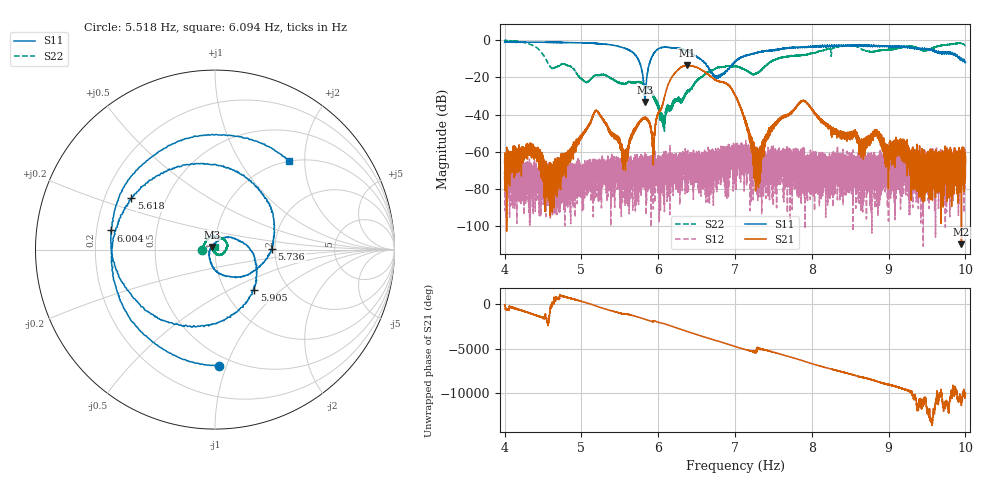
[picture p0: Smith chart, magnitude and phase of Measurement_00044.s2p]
!Created with skrf (http://scikit-rf.org).
# Hz S RI R 50.0
!freq ReS11 ImS11 ReS21 ImS21 ReS12 ImS12 ReS22 ImS22
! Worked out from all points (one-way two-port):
!   14001 points, 4 Hz to 10 Hz, reference 50 ohm
!   highest |S21| = -13.62 dB at 6.372 Hz (marker M1); lowest = -109.6 dB at 9.949 Hz (marker M2)
!   lowest |S11| = -33.1 dB at 5.829 Hz (marker M3), VSWR 1.05, Z = 48.4 + j1.41 ohm
!   |S11| at or under -10 dB: 5.736 Hz to 5.907 Hz (171.3 mHz wide, 2.94 % of centre); 6.542 Hz to 7.048 Hz (506.5 mHz wide, 7.45 % of centre); 9.9546 Hz to end of sweep (the widest 3 of 9)
!   |S22| runs from -49.0 to -0.2 dB; largest |S21 - S12| = 0.21
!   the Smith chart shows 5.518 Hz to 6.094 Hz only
!   S11 on the Smith chart (normalised r, x): 5.518 Hz: 0.42, -0.94; 5.618 Hz: 0.31, +0.26; 5.736 Hz: 1.93, +0.02; 5.905 Hz: 1.36, -0.68; 6.004 Hz: 0.26, +0.09; 6.094 Hz: 0.99, +1.67
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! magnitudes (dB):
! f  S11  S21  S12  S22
! 4 Hz  -1.1  -66.0  -72.4  -0.2
! 4.351 Hz  -1.1  -57.6  -71.6  -2.6
! 4.591 Hz  -1.2  -72.5  -79.6  -14.1
! 5 Hz  -1.5  -52.8  -74.7  -20.7
! 5.2 Hz  -1.8  -37.7  -74.5  -18.7
! 5.518 Hz  -3.8  -59.2  -74.9  -23.1
! 5.618 Hz  -5.2  -58.0  -82.3  -22.3
! 5.736 Hz  -10.0  -45.3  -69.6  -22.3
! 5.829 Hz  -33.1  -42.0  -69.8  -24.6
! 5.905 Hz  -10.1  -46.7  -68.8  -27.3
! 6 Hz  -4.7  -39.1  -67.1  -35.3
! 6.004 Hz  -4.6  -38.9  -61.7  -35.2
! 6.094 Hz  -3.8  -28.6  -67.2  -38.3
! 6.372 Hz  -5.7  -13.6  -59.8  -28.1
! 6.753 Hz  -20.3  -21.5  -65.3  -15.2
! 7 Hz  -11.6  -29.6  -57.5  -14.0
! 7.282 Hz  -6.8  -61.9  -63.0  -17.6
! 7.565 Hz  -5.0  -42.7  -76.1  -9.7
! 8 Hz  -3.7  -36.8  -68.0  -6.9
! 9 Hz  -3.5  -58.4  -73.4  -5.1
! 9.949 Hz  -9.9  -109.6  -68.8  -1.8
! 10 Hz  -11.8  -66.3  -66.4  -3.0
